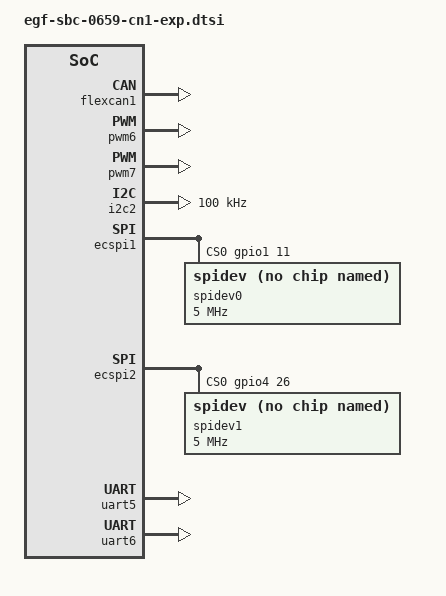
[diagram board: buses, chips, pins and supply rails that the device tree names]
&flexcan1 {
	status = "okay";
};

&pwm6 {
	clocks = <&clks IMX6UL_CLK_PWM6>,
				<&clks IMX6UL_CLK_PWM6>;
	status = "okay";
};

&pwm7 {
	clocks = <&clks IMX6UL_CLK_PWM7>,
				<&clks IMX6UL_CLK_PWM7>;
	status = "okay";
};

&i2c2 {
	clock-frequency = <100000>;
	status = "okay";
};

&ecspi1 {
	fsl,spi-num-chipselects = <1>;
	cs-gpios = <&gpio1 11 0>;
	status = "okay";
	dmas = <>;
	
	spidev0: spi@0 {
		compatible = "spidev";
		reg = <0>;
		spi-max-frequency = <5000000>;
	};
};

&ecspi2 {
	fsl,spi-num-chipselects = <1>;
	cs-gpios = <&gpio4 26 0>;
	status = "okay";
	dmas = <>;
	
	spidev1: spi@0 {
		compatible = "spidev";
		reg = <0>;
		spi-max-frequency = <5000000>;
	};	
};

&uart5 {
	fsl,uart-has-rtscts;
	status = "okay";
};

&uart6 {
	fsl,uart-has-rtscts;
	status = "okay";
};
